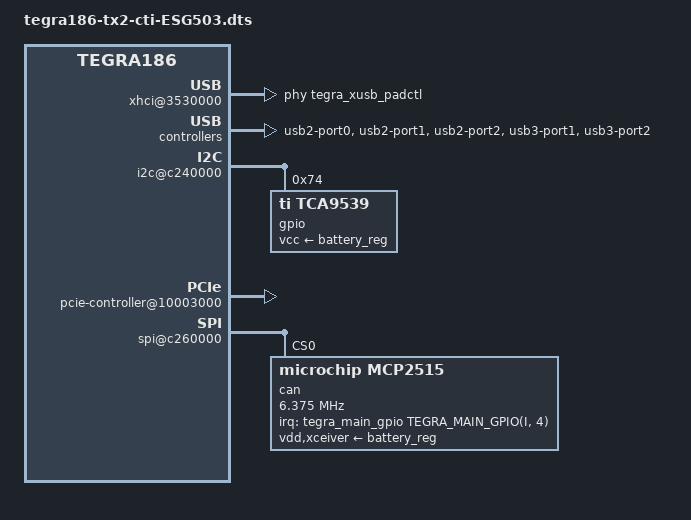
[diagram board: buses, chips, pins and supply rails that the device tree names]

/* New Rudi With USB mux build */

#include "tegra186-tx2-cti-base.dts"

/{
    nvidia,dtsfilename = "tegra186-tx2-cti-ESG503.dts";
    nvidia,dtbbuildtime = __DATE__, __TIME__;

    gpio@2200000 {
    /*enable this to enabled PCIe Controller #2*/
        pcie0_lane2_mux {
             status = "okay";
        };
    /******************************************/
    /*enable these two to enable USB3 Port 0*/
        e3325_sdio_rst {
           status = "disabled";
        };
        e3325_lane0_mux {
            status = "disabled";
        };
    /******************************************/

    };
    i2c@3160000 {
        
        gpio@74{
            status = "disabled"; 
            
             
        };
        gpio@77{
            status = "disabled";

        };

    };

    xhci@3530000 {
        status = "okay";
        phys = <&tegra_xusb_padctl TEGRA_PADCTL_PHY_UTMI_P(0)>,
            <&tegra_xusb_padctl TEGRA_PADCTL_PHY_UTMI_P(1)>,
            <&tegra_xusb_padctl TEGRA_PADCTL_PHY_UTMI_P(2)>,
            <&tegra_xusb_padctl TEGRA_PADCTL_PHY_USB3_P(1)>,
            <&tegra_xusb_padctl TEGRA_PADCTL_PHY_USB3_P(2)>;
        phy-names = "utmi-0", "utmi-1", "utmi-2", "usb3-1", "usb3-2";
    };

    pinctrl@3520000 {
        status = "okay";
        pinctrl-0 = <&tegra_xusb_padctl_pinmux_default>;
        pinctrl-names = "default";
        tegra_xusb_padctl_pinmux_default: pinmux {

            usb2-port0 {
                nvidia,lanes = "otg-0";
                nvidia,function = "xusb";
                nvidia,port-cap = <TEGRA_PADCTL_PORT_OTG_CAP>;
                nvidia,oc-pin = <0>;
                status = "okay";
            };
            usb2-port1 {
                nvidia,lanes = "otg-1";
                nvidia,function = "xusb";
                nvidia,port-cap = <TEGRA_PADCTL_PORT_HOST_ONLY>;
                nvidia,oc-pin = <1>;
                status = "okay";
            };
            usb2-port2 {
                nvidia,lanes = "otg-2";
                nvidia,function = "xusb";
                nvidia,port-cap = <TEGRA_PADCTL_PORT_HOST_ONLY>;
                status = "okay";
            };
            usb3-port0 {
                nvidia,lanes = "usb3-0";
                nvidia,port-cap = <TEGRA_PADCTL_PORT_HOST_ONLY>;
                status = "disabled";
            };
            usb3-port1 {
                nvidia,lanes = "usb3-1";
                nvidia,port-cap = <TEGRA_PADCTL_PORT_HOST_ONLY>;
                status = "okay";
            };
            usb3-port2 {
                nvidia,lanes = "usb3-2";
                nvidia,port-cap = <TEGRA_PADCTL_PORT_HOST_ONLY>;
                status = "okay";
            };
        };
    };
   
    i2c@c240000{
        #address-cells = <1>;
        #size-cells = <0>;

        gpio@74{
            compatible = "ti,tca9539";
            reg = <0x74>;
            gpio-controller;
            #gpio-cells = <0x2>;
            vcc-supply = <&battery_reg>;
            status = "okay";
         };

    };

     pcie-controller@10003000 {
        status = "okay";
        pci@1,0 {
            nvidia,num-lanes = <1>;
            status = "okay";

        };
        pci@2,0 {
            nvidia,num-lanes = <0>;
            status = "disabled";
        };
        pci@3,0 {
            nvidia,num-lanes = <1>;
            status = "okay";
        };
    };

    spi@c260000 {
        status = "okay";
        can@0 {
            status = "okay";
            compatible = "microchip,mcp2515";
            reg = <0>;
            clocks = <&can_clock>;
            interrupt-parent = <&tegra_main_gpio>;
                /* the first cell defines the
                    index of the interrupt within the controller, while the second cell is used
                    to specify any of the following flags:
                    - bits[3:0] trigger type and level flags
                    1 = low-to-high edge triggered
                    2 = high-to-low edge triggered
                    4 = active high level-sensitive
                    8 = active low level-sensitive
                */
          interrupts = <TEGRA_MAIN_GPIO(I, 4) 0x2>;
          vdd-supply = <&battery_reg>;
          xceiver-supply = <&battery_reg>;
          spi-max-frequency=<6375000>;
       };
    };

};
